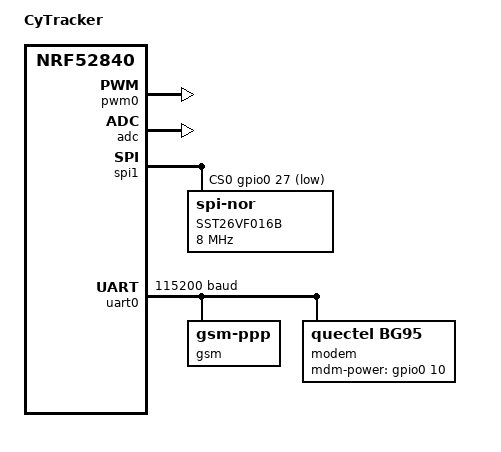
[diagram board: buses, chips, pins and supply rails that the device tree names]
// Copyright (c) 2024 Nordic Semiconductor ASA
// SPDX-License-Identifier: Apache-2.0

/dts-v1/;
#include <nordic/nrf52840_qiaa.dtsi>
#include "cytracker-pinctrl.dtsi"
/ {
	aliases {
		modem = &modem;
		modem-uart = &uart0;
	};
};

/ {
	model = "CyTracker";
	compatible = "cypodsolutions,cytracker";

	chosen {
		zephyr,console = &uart0;
		zephyr,shell-uart = &uart0;
		zephyr,uart-mcumgr = &uart0;
		zephyr,bt-mon-uart = &uart0;
		zephyr,bt-c2h-uart = &uart0;
		zephyr,sram = &sram0;
		zephyr,flash = &flash0;
		// zephyr,code-partition = &slot0_partition;
		nordic,pm-ext-flash = &SST26VF016B;
	};
};

&pwm0 {
	status = "okay";
	pinctrl-0 = <&pwm0_default>;
	pinctrl-1 = <&pwm0_sleep>;
	pinctrl-names = "default", "sleep";
};

&adc {
	status = "okay";
};


&spi1 {
	compatible = "nordic,nrf-spi";
	status = "okay";
	pinctrl-0 = <&spi1_default>;
	pinctrl-1 = <&spi1_sleep>;
	pinctrl-names = "default", "sleep";
	cs-gpios = <&gpio0 27 GPIO_ACTIVE_LOW>;
	SST26VF016B: SST26VF016B@0 {
		compatible = "jedec,spi-nor";
		reg = <0>;
		spi-max-frequency = <8000000>;
		requires-ulbpr;
		// label = "SST26VF016B";
		jedec-id = [ BF 26 41  ];
		//sfdp-bfp = [
		//    e5 20 f1 ff  ff ff ff 03  44 eb 08 6b  08 3b 04 bb
		//    ee ff ff ff  ff ff 00 ff  ff ff 00 ff  0c 20 0f 52
		//    10 d8 00 ff  23 72 f5 00  82 ed 04 cc  44 83 68 44
		//    30 b0 30 b0  f7 c4 d5 5c  00 be 29 ff  f0 d0 ff ff
		//];
		size = <16777216>;
		//size = <67108864>;
		status = "okay";
		has-dpd;
		t-enter-dpd = <10000>;
		t-exit-dpd = <35000>;
	};
};


&gpio0 {
	status = "okay";
};


arduino_serial: &uart0 {
	status = "okay";
	compatible = "nordic,nrf-uarte";
	current-speed = <115200>;
	pinctrl-0 = <&uart0_default>;
	pinctrl-1 = <&uart0_sleep>;
	pinctrl-names = "default", "sleep";
	gsm: gsm-modem {
		compatible = "zephyr,gsm-ppp";
		// label = "gsm_ppp";
	};


	modem: modem {
		compatible = "quectel,bg95";
		mdm-power-gpios = <&gpio0 10 GPIO_ACTIVE_HIGH>;
		status = "okay";
	};
	// modem: modem {
		//     compatible = "quectel,bg95";
		//     mdm-power-gpios = <&gpio0 10 GPIO_ACTIVE_HIGH>;
		//     status = "okay";
	// };
};


&flash0 {
	partitions {
		compatible = "fixed-partitions";
		#address-cells = <1>;
		#size-cells = <1>;

		boot_partition: partition@0 {
			label = "mcuboot";
			reg = <0x0 0xc000>;
		};
		slot0_partition: partition@c000 {
			label = "image-0";
			reg = <0xc000 0x72000>;
		};
		slot1_partition: partition@7e000 {
			label = "image-1";
			reg = <0x7e000 0x72000>;
		};
		scratch_partition: partition@f0000 {
			label = "image-scratch";
			reg = <0xf0000 0xa000>;
		};
		storage_partition: partition@fa000 {
			label = "storage";
			reg = <0xfa000 0x6000>;
		};
	};
};

